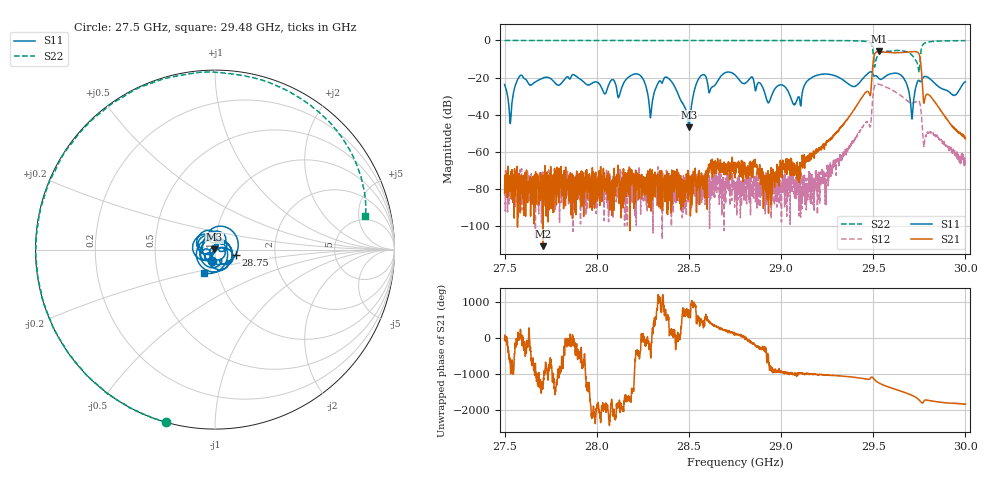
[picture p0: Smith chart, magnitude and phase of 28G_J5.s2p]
!Keysight Technologies,N5234A,MY55441357,A.10.47.05
!Date: Sunday, November 19, 2017 16:44:28
!Correction: S11(Full 2 Port(1,2))
!S21(Full 2 Port(1,2))
!S12(Full 2 Port(1,2))
!S22(Full 2 Port(1,2))
!S2P File: Measurements: S11, S21, S12, S22:
# Hz S  dB  R 50
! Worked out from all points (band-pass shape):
!   2501 points, 27.5 GHz to 30 GHz, reference 50 ohm
!   highest |S21| = -5.94 dB at 29.53 GHz (marker M1); lowest = -111.0 dB at 27.71 GHz (marker M2)
!   |S21| within 3 dB of the highest: 29.5 GHz to 29.75 GHz (249.6 MHz wide, 0.843 % of centre)
!   lowest |S11| = -46.8 dB at 28.5 GHz (marker M3), VSWR 1.01, Z = 49.6 + j0.213 ohm
!   |S11| at or under -10 dB: start of sweep to end of sweep
!   |S22| runs from -17.3 to 0.0 dB; largest |S21 - S12| = 0.54
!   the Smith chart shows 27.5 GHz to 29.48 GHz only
!   S11 on the Smith chart (normalised r, x): 27.5 GHz: 0.96, -0.12; 28.75 GHz: 1.26, -0.08; 29.48 GHz: 0.86, -0.22
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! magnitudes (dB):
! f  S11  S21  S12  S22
! 27.5 GHz  -23.7  -82.4  -74.9  0.0
! 27.53 GHz  -44.9  -79.2  -80.0  0.0
! 27.58 GHz  -19.2  -76.2  -76.1  0.0
! 27.71 GHz  -20.3  -111.0  -70.9  0.0
! 27.92 GHz  -21.3  -73.5  -73.4  0.0
! 28.12 GHz  -30.3  -73.2  -81.8  0.0
! 28.22 GHz  -18.2  -75.4  -71.9  0.0
! 28.29 GHz  -41.1  -80.8  -80.8  0.0
! 28.33 GHz  -22.8  -74.6  -83.3  0.0
! 28.5 GHz  -46.8  -81.2  -76.6  0.0
! 28.56 GHz  -19.1  -76.4  -78.8  0.0
! 28.75 GHz  -18.5  -67.1  -83.9  0.0
! 28.75 GHz  -18.6  -74.2  -76.7  0.0
! 29.07 GHz  -34.6  -69.0  -80.5  0.0
! 29.17 GHz  -20.0  -60.9  -81.8  0.0
! 29.48 GHz  -16.9  -29.7  -46.6  -1.3
! 29.53 GHz  -20.4  -5.9  -23.6  -7.5
! 29.58 GHz  -18.3  -6.5  -25.8  -5.8
! 29.71 GHz  -41.9  -6.1  -33.8  -7.8
! 29.74 GHz  -22.3  -6.3  -32.6  -12.6
! 29.78 GHz  -19.4  -31.4  -53.2  -1.4
! 30 GHz  -22.4  -53.1  -67.2  -0.1
